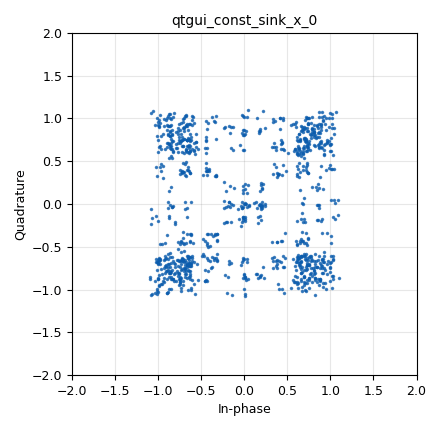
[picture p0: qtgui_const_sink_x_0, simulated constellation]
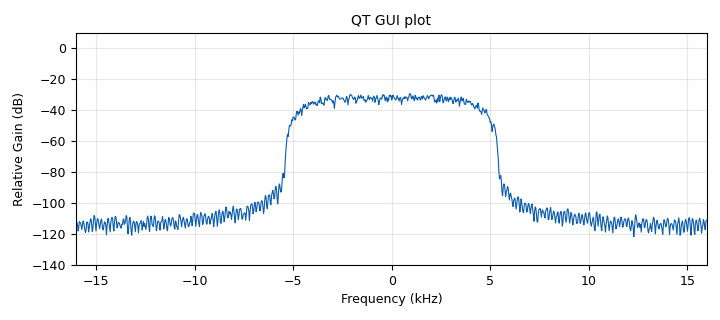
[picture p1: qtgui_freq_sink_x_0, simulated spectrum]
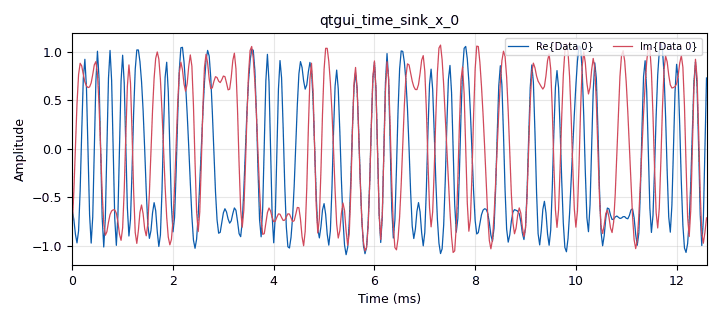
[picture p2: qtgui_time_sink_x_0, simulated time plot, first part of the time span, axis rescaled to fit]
options:
  parameters:
    author: henning
    generate_options: qt_gui
    id: mpsk
    output_language: python
    title: Not titled yet
  states: {}

blocks:
- name: arity
  id: variable
  parameters:
    value: '4'
  states: {}
- name: excess_bw
  id: variable
  parameters:
    value: '0.350'
  states: {}
- name: qpsk_const
  id: variable_constellation_rect
  parameters:
    const_points: '[-1-1j, -1+1j, 1+1j, 1-1j]'
    imag_sect: '2'
    real_sect: '2'
    rot_sym: '4'
    sym_map: '[0, 1, 3, 2]'
    w_imag_sect: '1'
    w_real_sect: '1'
  states: {}
- name: samp_rate
  id: variable
  parameters:
    value: '32000'
  states: {}
- name: sps
  id: variable
  parameters:
    value: '4'
  states: {}
- name: analog_random_source_x_0
  id: analog_random_source_x
  parameters:
    max: '255'
    min: '0'
    num_samps: '1000'
    repeat: 'True'
    type: byte
  states: {}
- name: blocks_throttle_0
  id: blocks_throttle
  parameters:
    samples_per_second: samp_rate
    type: complex
  states: {}
- name: digital_constellation_modulator_0
  id: digital_constellation_modulator
  parameters:
    constellation: qpsk_const
    differential: 'True'
    excess_bw: excess_bw
    samples_per_symbol: sps
  states: {}
- name: qtgui_const_sink_x_0
  id: qtgui_const_sink_x
  parameters:
    size: '1024'
    type: complex
  states: {}
- name: qtgui_freq_sink_x_0
  id: qtgui_freq_sink_x
  parameters:
    average: '0.1'
    bw: samp_rate
    fc: '0'
    fftsize: '1024'
    name: QT GUI plot
    type: complex
    wintype: firdes.WIN_BLACKMAN_hARRIS
  states: {}
- name: qtgui_time_sink_x_0
  id: qtgui_time_sink_x
  parameters:
    size: '1024'
    srate: samp_rate
    type: complex
  states: {}

connections:
- [analog_random_source_x_0, '0', digital_constellation_modulator_0, '0']
- [blocks_throttle_0, '0', qtgui_const_sink_x_0, '0']
- [blocks_throttle_0, '0', qtgui_freq_sink_x_0, '0']
- [blocks_throttle_0, '0', qtgui_time_sink_x_0, '0']
- [digital_constellation_modulator_0, '0', blocks_throttle_0, '0']

metadata:
  file_format: 1
